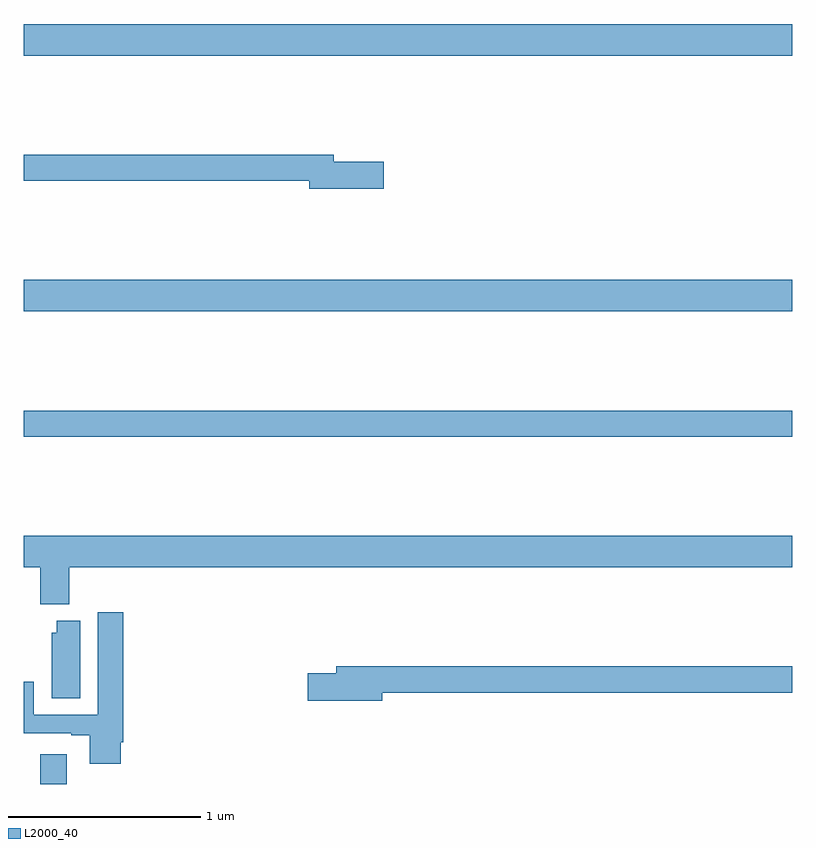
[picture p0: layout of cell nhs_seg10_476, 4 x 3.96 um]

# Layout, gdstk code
import gdstk
lib = gdstk.Library(unit=1e-6, precision=1e-09)
def R(c, l, rs):  # rectangles x0, y0, x1, y1
    for r in rs: c.add(gdstk.rectangle(r[:2], r[2:], *l))
def P(c, l, *ps):  # polygons
    for p in ps: c.add(gdstk.Polygon(p, *l))
L2000_40 = (2000, 40)

nhs_seg10_476 = lib.new_cell('nhs_seg10_476')
R(nhs_seg10_476, L2000_40, [(133.085,1320.5,133.225,1320.655), (133,1322.308,137,1322.444), (133,1322.96,137,1323.124), (133,1324.292,137,1324.456)])
P(nhs_seg10_476, L2000_40, [(134.875,1323.74),(134.614,1323.74),(134.614,1323.776),(133,1323.776),(133,1323.64),(134.486,1323.64),(134.486,1323.598),(134.875,1323.598)],
  [(133.238,1321.628),(137,1321.628),(137,1321.792),(133,1321.792),(133,1321.628),(133.085,1321.628),(133.085,1321.436),(133.238,1321.436)],
  [(133.504,1320.718),(133.517,1320.718),(133.517,1321.393),(133.385,1321.393),(133.385,1320.861),(133.051,1320.861),(133.051,1321.033),(133,1321.033),(133,1320.765),(133.247,1320.765),(133.247,1320.753),(133.343,1320.753),(133.343,1320.606),(133.504,1320.606)],
  [(133.294,1321.351),(133.172,1321.351),(133.172,1321.287),(133.145,1321.287),(133.145,1320.946),(133.294,1320.946)],
  [(134.866,1320.976),(137,1320.976),(137,1321.112),(134.627,1321.112),(134.627,1321.076),(134.478,1321.076),(134.478,1320.934),(134.866,1320.934)])

lib.write_gds('nhs_seg10_476.gds')
